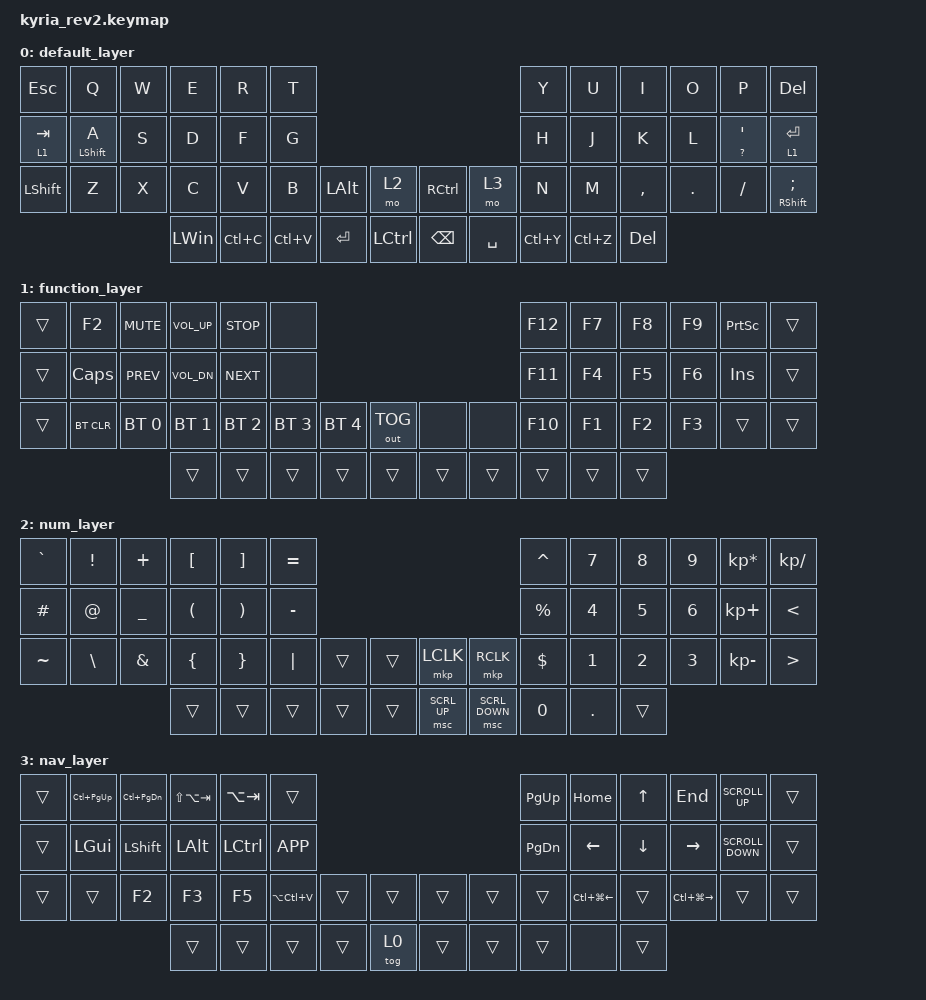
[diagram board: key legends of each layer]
#include <behaviors.dtsi>
#include <dt-bindings/zmk/bt.h>
#include <dt-bindings/zmk/keys.h>
#include <dt-bindings/zmk/outputs.h>
#include <dt-bindings/zmk/mouse.h>

#define BASE 0
#define FNC  1
#define NUM  2
#define NAV  3
#define OSL 4
#define PTAB LC(PG_UP)
#define NTAB LC(PG_DN)
#define NWIN LA(TAB)
#define PWIN LS(LA(TAB))
#define XSLV LA(LC(V))
#define PDESK LC(LG(RIGHT))
#define NDESK LC(LG(LEFT))
#define LR_DOWN LA(DOWN)
#define LR_UP LA(UP)

&sk { release-after-ms = <1000>; };

&sl { release-after-ms = <1000>; };

/ {
    behaviors {
        // hm: homerow_mods {
        //   compatible = "zmk,behavior-hold-tap";
        //   label = "HOMEROW_MODS";
        //   #binding-cells = <2>;
        //   tapping_term_ms = <200>;
        //   flavor = "tap-preferred";
        //   bindings = <&kp>, <&cp>;
        // };

        hm: homerow_mods {
            compatible = "zmk,behavior-hold-tap";
            label = "homerow mods";
            #binding-cells = <2>;
            tapping_term_ms = <220>;
            flavor = "balanced";
            bindings = <&kp>, <&kp>;
        };

        mx: layer_tap_osl {
            compatible = "zmk,behavior-hold-tap";
            label = "LAYER_TAP_OSL";
            #binding-cells = <2>;
            flavor = "hold-preferred";
            tapping_term_ms = <200>;
            bindings = <&mo>, <&sl>;
        };
    };

    keymap {
        compatible = "zmk,keymap";

        default_layer {
            // ---------------------------------------------------------------------------------------------------------------------------------
            // |  ESC  |  Q  |  W  |  E   |  R   |  T   |                                          |  Y   |  U    |  I    |  O   |   P   | bksp |
            // | TAB/FN|  A  |  S  |  D   |  F   |  G   |                                          |  H   |  J    |  K    |  L   |   '   |ent/fn|
            // | SHIFT |  Z  |  X  |  C   |  V   |  B   | ---     |  ctrl   |  |   ctrl  |  blank  |  N   |  M    |  ,    |  .   |   /   |shft/;|
            //                     | ENC  |Alt/En| Ctrl |  Nav    |   del   |  |   bksp  |  num    | spc  | Iso   | ENC2  |

            bindings = <
&kp ESC    &kp Q        &kp W  &kp E     &kp R      &kp T                                                                &kp Y      &kp U      &kp I       &kp O    &kp P             &kp DEL
&lt 1 TAB  &hm LSHFT A  &kp S  &kp D     &kp F      &kp G                                                                &kp H      &kp J      &kp K       &kp L    &hm QUESTION SQT  &lt 1 RET
&kp LSHFT  &kp Z        &kp X  &kp C     &kp V      &kp B      &kp LEFT_ALT  &mo 2             &kp RCTRL      &mo 3      &kp N      &kp M      &kp COMMA   &kp DOT  &kp FSLH          &mt RSHFT SEMI
                               &kp LWIN  &kp LC(C)  &kp LC(V)  &kp ENTER     &kp LEFT_CONTROL  &kp BACKSPACE  &kp SPACE  &kp LC(Y)  &kp LC(Z)  &kp DEL
            >;
        };

        function_layer {
            // ---------------------------------------------------------------------------------------------------------------------------------
            // | none  |  F2 | mute| V+   | stp  |   @  |                                       | F12  |  F7   |  F8   |  F9  | Print| none |
            // | none  | caps| Prev| V-   | Next |   @p |                                       | F11  |  F4   |  F5   |  F6  | Ins  | none |
            // | none  | /Ble| Ble0| Ble1 | Ble2 | Ble3 |  Ble4  |  ---    |  |   ---   |  ---  | F10  |  F1   |  F2   |  F3  | ---  | none |
            //                     | ---  | ---  | ---  |  ---   |  ---    |  |   ---   |  ---  | ---  | ---   | ---   |

            bindings = <
&trans  &kp F2      &kp C_MUTE    &kp C_VOL_UP  &kp C_STOP    &none                                                     &kp F12  &kp F7  &kp F8  &kp F9  &kp PSCRN  &trans
&trans  &kp CAPS    &kp C_PREV    &kp C_VOL_DN  &kp C_NEXT    &none                                                     &kp F11  &kp F4  &kp F5  &kp F6  &kp INS    &trans
&trans  &bt BT_CLR  &bt BT_SEL 0  &bt BT_SEL 1  &bt BT_SEL 2  &bt BT_SEL 3  &bt BT_SEL 4  &out OUT_TOG  &none   &none   &kp F10  &kp F1  &kp F2  &kp F3  &trans     &trans
                                  &trans        &trans        &trans        &trans        &trans        &trans  &trans  &trans   &trans  &trans
            >;
        };

        num_layer {
            // ---------------------------------------------------------------------------------------------------------------------------------
            // | `     |  !  |  +  |  [   |  ]   |  =   |                                          |  %   |  7    |  8    |  9   |   *   | /    |
            // | #     |  @  |  _  |  (   |  )   |  -   |                                          |  $   |  4    |  5    |  6   |   +   | <  |
            // | ~     |  \  |  &  |  {   |  }   |  |   |   ---   |  ---    |  |   leftclk   |  rightclk    |  ^   |  1    |  2    |  3   |   -   | > |
            //                     | ENC  | ---  | ---  |   ---   |  ---    |  |   scrollup   |  scrolldown    | ---  | ---   | ---   |

            bindings = <
&kp GRAVE  &kp EXCL  &kp PLUS   &kp LBKT  &kp RBKT  &kp EQUAL                                  &kp CARET  &kp N7   &kp N8  &kp N9  &kp KP_MULTIPLY  &kp KP_DIVIDE
&kp HASH   &kp AT    &kp UNDER  &kp LPAR  &kp RPAR  &kp MINUS                                  &kp PRCNT  &kp N4   &kp N5  &kp N6  &kp KP_PLUS      &kp LT
&kp TILDE  &kp BSLH  &kp AMPS   &kp LBRC  &kp RBRC  &kp PIPE   &trans  &trans  &mkp LCLK  &mkp RCLK  &kp DLLR   &kp N1   &kp N2  &kp N3  &kp KP_MINUS     &kp GT
                                &trans    &trans    &trans     &trans  &trans  &msc SCRL_UP  &msc SCRL_DOWN  &kp N0     &kp DOT  &trans
            >;
        };

        nav_layer {
            // ---------------------------------------------------------------------------------------------------------------------------------
            // | ---  | Tab-| Tab+| win+ | win- | excel|                                          | Pgup | Home |  Up   | End  | ScrUp | ---  |
            // | ---  | Win | Shft| alt  | ctrl | app  |                                          | Pgdw | Left |  Down | Right| ScrDn | ---  |
            // | ---  | --- | F2  | F3   | F5   | excel|   ---   |  ---    |  |   ---   |  ---    |      | Predk| ---   | NxDk |   -   |---   |
            //                    | ENC  | ---  | ---  |   ---   |  ---    |  |   ---   |  ---    | ---  | ---  | ---   |

            bindings = <
&trans  &kp PTAB  &kp NTAB   &kp PWIN  &kp NWIN   &trans                                     &kp PG_UP  &kp HOME   &kp UP    &kp END    &kp K_SCROLL_UP    &trans
&trans  &kp LGUI  &kp LSHFT  &kp LALT  &kp LCTRL  &kp K_APP                                  &kp PG_DN  &kp LEFT   &kp DOWN  &kp RIGHT  &kp K_SCROLL_DOWN  &trans
&trans  &trans    &kp F2     &kp F3    &kp F5     &kp XSLV   &trans  &trans  &trans  &trans  &trans     &kp NDESK  &trans    &kp PDESK  &trans             &trans
                             &trans    &trans     &trans     &trans  &tog 0  &trans  &trans  &trans     &none      &trans
            >;
        };
    };
};
